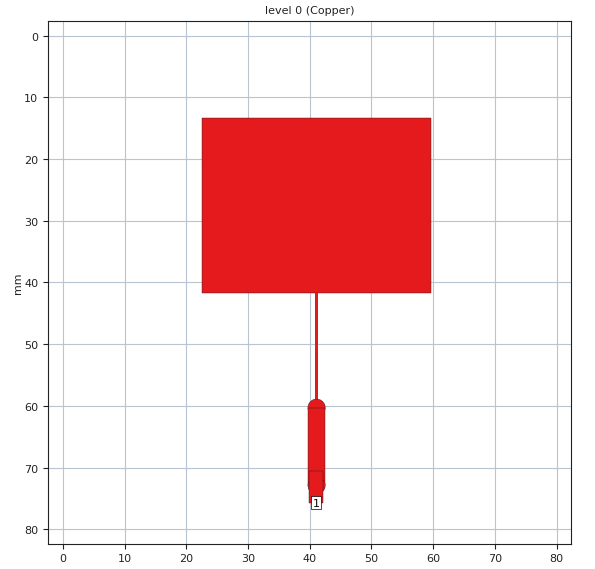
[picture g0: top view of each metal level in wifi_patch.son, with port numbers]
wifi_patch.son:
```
FTYP SONPROJ 13 ! Sonnet Project File
VER 15.53.lite
HEADER
LIC SL288770.104303 0a0027000018 NEON alist
DAT 09/20/2018 14:13:43
BUILT_BY_CREATED xgeom 15.53-Lite 09/18/2018 17:32:59
BUILT_BY_SAVED xgeom 15.53-Lite
MDATE 09/20/2018 14:13:43
HDATE 09/20/2018 14:13:43
END HEADER
DIM
FREQ GHZ
IND NH
LNG MM
ANG DEG
CON /OH
CAP PF
RES OH
END DIM
FREQ
ABS 2.0 2.8 
END FREQ
CONTROL
ABS
OPTIONS  -dj 
SPEED 0
CACHE_ABS 1
TARG_ABS 300
Q_ACC N
END CONTROL
GEO
TMET "Free Space" 0 FREESPACE 376.7303136 0 0 0
BMET "Copper" 2 NOR 58000000 0 0.035 
MET "Copper" 2 NOR 58000000 0 0.035 
BRI "Unnamed" 0 1 0 0 
BOX 1 79.95 79.95 1066 1066 20 0
      640 1 1 0 0 0 0 "Air"
      1.5 4.4 1 0.02 0 0 0 "FR-4"
TECHLAY METAL Copper <UNSPECIFIED> -2 0 
0 0 0 N 0 1 1 100 100 0 0 0 Y
END
END
DIM STD XDIR 1
POS 9.250003025 -2.320770233
NOM 37.20000374
REF1 POLY 1003 1
0
REF2 POLY 1003 1
1
END
DIM STD YDIR 1
POS -4.085141993 3.624997052
NOM 28.25000211
REF1 POLY 1003 1
0
REF2 POLY 1003 1
3
END
DIM STD YDIR 1
POS -1.440420007 8.475001084
NOM 17.35000403
REF1 POLY 1010 1
0
REF2 POLY 1010 1
3
END
DIM STD XDIR 1
POS 0.300003215 1.213014344
NOM 0.6
REF1 POLY 1010 1
3
REF2 POLY 1010 1
2
END
LORGN 0 79.95 U 
POR1 AGND
POLY 1032 1
2
1 50 0 0 0 41.04999659 75.69999938 NONE 
NUM 6
0 5 0 N 1003 1 1 100 100 0 0 0 Y
TLAYNAM Copper INH
22.5 13.39999789
59.70000374 13.39999789
59.70000374 41.65
22.5 41.65
22.5 13.39999789
END
0 5 0 N 1010 1 1 100 100 0 0 0 Y
TLAYNAM Copper INH
40.8 41.65
41.4 41.65
41.4 59.00000403
40.8 59.00000403
40.8 41.65
END
0 39 0 N 1024 1 1 100 100 0 0 0 Y
TLAYNAM Copper INH
42.50000132 60.42248497
42.45746303 60.66373161
42.37367895 60.89392648
42.25119482 61.10607521
42.09373226 61.29373178
41.90607569 61.45119434
41.69392695 61.57367847
41.46373209 61.65746255
41.22248545 61.70000084
40.97751719 61.70000084
40.73627055 61.65746255
40.50607569 61.57367847
40.29392695 61.45119434
40.10627038 61.29373178
39.94880782 61.10607521
39.82632369 60.89392648
39.74253961 60.66373161
39.70000132 60.42248497
39.70000132 60.17751671
39.74253961 59.93627008
39.82632369 59.70607521
39.94880782 59.49392648
40.10627038 59.3062699
40.29392695 59.14880734
40.50607569 59.02632321
40.73627055 58.94253914
40.97751719 58.90000084
41.22248545 58.90000084
41.46373209 58.94253914
41.69392695 59.02632321
41.90607569 59.14880734
42.09373226 59.3062699
42.25119482 59.49392648
42.37367895 59.70607521
42.45746303 59.93627008
42.50000132 60.17751671
42.50000132 60.42248497
42.50000132 60.42248497
42.50000132 60.42248497
END
0 5 0 N 1027 1 1 100 100 0 0 0 Y
TLAYNAM Copper INH
39.70000035 60.29999907
42.49999796 60.29999907
42.49999796 72.79999907
39.70000035 72.79999907
39.70000035 60.29999907
END
0 39 0 N 1029 1 1 100 100 0 0 0 Y
TLAYNAM Copper INH
42.50000132 73.02248497
42.45746303 73.26373161
42.37367895 73.49392648
42.25119482 73.70607521
42.09373226 73.89373178
41.90607569 74.05119434
41.69392695 74.17367847
41.46373209 74.25746255
41.22248545 74.30000084
40.97751719 74.30000084
40.73627055 74.25746255
40.50607569 74.17367847
40.29392695 74.05119434
40.10627038 73.89373178
39.94880782 73.70607521
39.82632369 73.49392648
39.74253961 73.26373161
39.70000132 73.02248497
39.70000132 72.77751671
39.74253961 72.53627008
39.82632369 72.30607521
39.94880782 72.09392648
40.10627038 71.9062699
40.29392695 71.74880734
40.50607569 71.62632321
40.73627055 71.54253914
40.97751719 71.50000084
41.22248545 71.50000084
41.46373209 71.54253914
41.69392695 71.62632321
41.90607569 71.74880734
42.09373226 71.9062699
42.25119482 72.09392648
42.37367895 72.30607521
42.45746303 72.53627008
42.50000132 72.77751671
42.50000132 73.02248497
42.50000132 73.02248497
42.50000132 73.02248497
END
0 5 0 N 1032 1 1 100 100 0 0 0 Y
TLAYNAM Copper INH
39.89999659 70.59999938
42.19999659 70.59999938
42.19999659 75.69999938
39.89999659 75.69999938
39.89999659 70.59999938
END
END GEO
OPT
MAX 100
VARS
END
END OPT
VARSWP
END VARSWP
QSG
IMPORT NO
EXTRA_METAL NO
UNITS NO
ALIGN NO
REF NO
VIEW_RES NO
METALS YES
USED NO
END QSG
```
